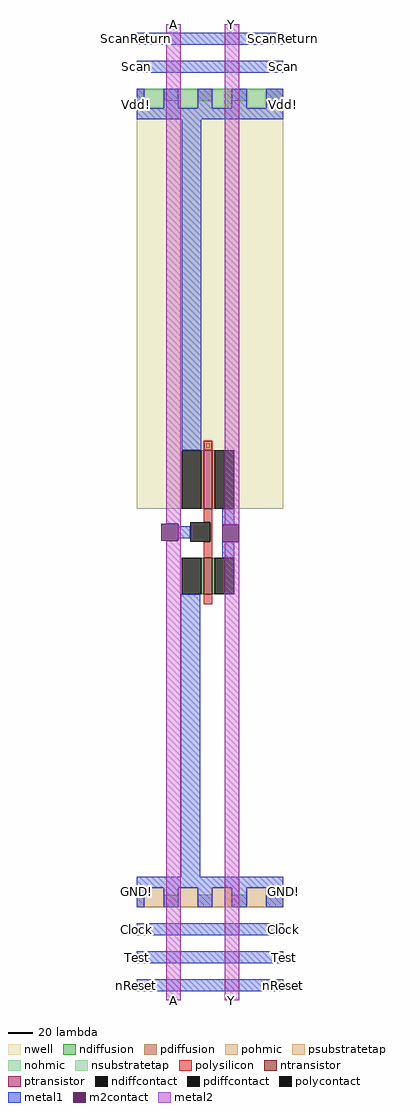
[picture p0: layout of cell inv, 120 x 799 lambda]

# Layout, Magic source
magic
tech c035u
<< nwell >>
rect 0 402 120 746
<< polysilicon >>
rect 55 450 62 458
rect 55 391 62 402
rect 60 375 62 391
rect 55 362 62 375
rect 55 324 62 332
<< ndiffusion >>
rect 53 332 55 362
rect 62 332 64 362
<< pdiffusion >>
rect 53 402 55 450
rect 62 402 64 450
<< pohmic >>
rect 0 76 6 86
rect 22 76 34 86
rect 50 76 62 86
rect 78 76 90 86
rect 106 76 120 86
<< nohmic >>
rect 0 736 6 746
rect 22 736 34 746
rect 50 736 62 746
rect 78 736 90 746
rect 106 736 120 746
<< ntransistor >>
rect 55 332 62 362
<< ptransistor >>
rect 55 402 62 450
<< polycontact >>
rect 44 375 60 391
<< ndiffcontact >>
rect 37 332 53 362
rect 64 332 80 362
<< pdiffcontact >>
rect 37 402 53 450
rect 64 402 80 450
<< psubstratetap >>
rect 6 76 22 92
rect 34 76 50 92
rect 62 76 78 92
rect 90 76 106 92
<< nsubstratetap >>
rect 6 730 22 746
rect 34 730 50 746
rect 62 730 78 746
rect 90 730 106 746
<< metal1 >>
rect 0 782 120 792
rect 0 759 120 769
rect 0 730 6 746
rect 22 730 34 746
rect 50 730 62 746
rect 78 730 90 746
rect 106 730 120 746
rect 0 721 120 730
rect 37 450 53 721
rect 34 378 44 388
rect 70 389 80 402
rect 70 362 80 375
rect 36 101 52 332
rect 0 92 120 101
rect 0 76 6 92
rect 22 76 34 92
rect 50 76 62 92
rect 78 76 90 92
rect 106 76 120 92
rect 0 53 120 63
rect 0 30 120 40
rect 0 7 120 17
<< m2contact >>
rect 20 376 34 390
rect 70 375 84 389
<< metal2 >>
rect 24 390 36 799
rect 34 376 36 390
rect 72 389 84 799
rect 24 0 36 376
rect 72 0 84 375
<< labels >>
rlabel metal1 0 721 0 746 7 Vdd!
rlabel metal1 0 759 0 769 7 Scan
rlabel metal1 0 782 0 792 6 ScanReturn
rlabel metal1 120 721 120 746 7 Vdd!
rlabel metal1 120 759 120 769 7 Scan
rlabel metal1 120 782 120 792 6 ScanReturn
rlabel metal2 24 799 36 799 5 A
rlabel metal2 72 799 84 799 5 Y
rlabel metal1 0 76 0 101 7 GND!
rlabel metal1 0 53 0 63 7 Clock
rlabel metal1 0 30 0 40 7 Test
rlabel metal1 0 7 0 17 8 nReset
rlabel metal1 120 7 120 17 8 nReset
rlabel metal1 120 30 120 40 7 Test
rlabel metal1 120 53 120 63 7 Clock
rlabel metal1 120 76 120 101 7 GND!
rlabel metal2 24 0 36 0 1 A
rlabel metal2 72 0 84 0 1 Y
<< end >>
